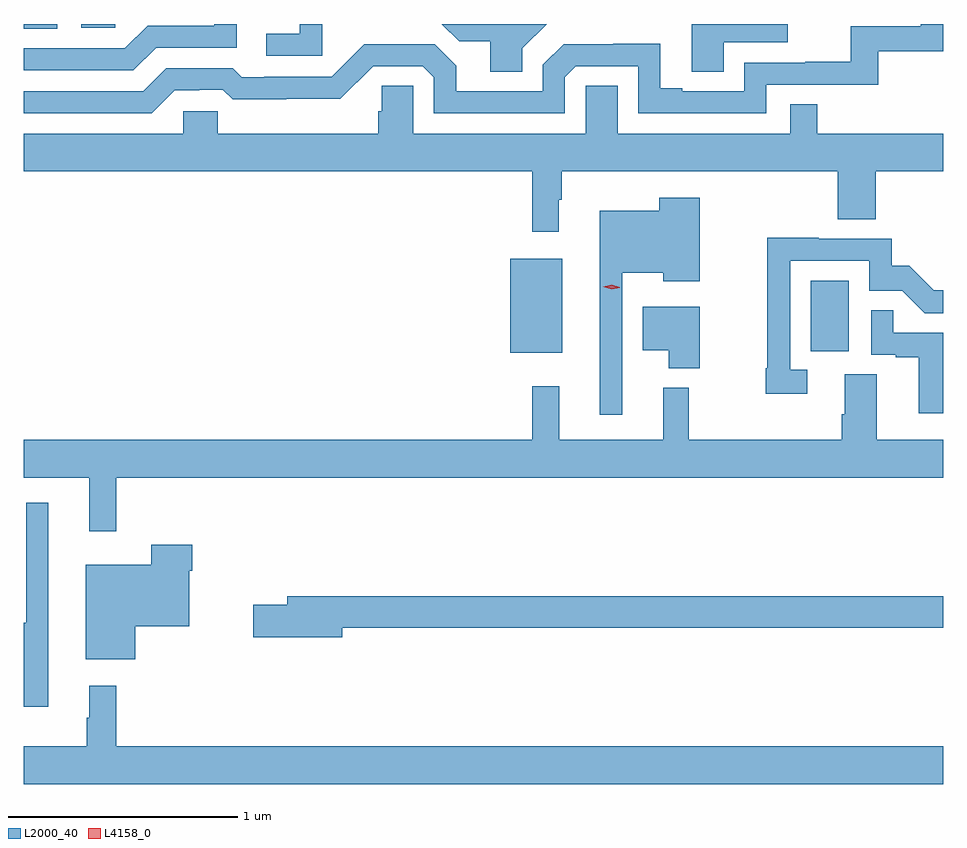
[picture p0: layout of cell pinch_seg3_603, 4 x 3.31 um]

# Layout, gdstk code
import gdstk
lib = gdstk.Library(unit=1e-6, precision=1e-09)
def R(c, l, rs):  # rectangles x0, y0, x1, y1
    for r in rs: c.add(gdstk.rectangle(r[:2], r[2:], *l))
def P(c, l, *ps):  # polygons
    for p in ps: c.add(gdstk.Polygon(p, *l))
L2000_40 = (2000, 40)
L4158_0 = (4158, 0)

pinch_seg3_603 = lib.new_cell('pinch_seg3_603')
R(pinch_seg3_603, L2000_40, [(1032.254,692.135,1032.481,692.545), (1033.562,692.142,1033.726,692.449), (1030.138,693.544,1030.284,693.565), (1030.389,693.549,1030.536,693.565)])
P(pinch_seg3_603, L2000_40, [(1033.183,693.486),(1033.46,693.486),(1033.46,693.565),(1033.043,693.565),(1033.043,693.358),(1033.183,693.358)],
  [(1031.436,693.565),(1031.34,693.565),(1031.34,693.522),(1031.193,693.522),(1031.193,693.426),(1031.436,693.426)],
  [(1030.795,693.276),(1030.902,693.276),(1030.902,693.279),(1031.005,693.279),(1031.047,693.237),(1031.28,693.237),(1031.28,693.239),(1031.516,693.239),(1031.658,693.381),(1031.874,693.381),(1031.922,693.333),(1031.922,693.177),(1032.492,693.177),(1032.492,693.333),(1032.54,693.381),(1032.81,693.381),(1032.81,693.177),(1033.368,693.177),(1033.368,693.3),(1033.855,693.3),(1033.855,693.447),(1034.138,693.447),(1034.138,693.565),(1034.039,693.565),(1034.039,693.556),(1033.734,693.556),(1033.734,693.401),(1033.537,693.401),(1033.537,693.396),(1033.272,693.396),(1033.272,693.273),(1033.003,693.273),(1033.003,693.286),(1032.907,693.286),(1032.907,693.479),(1032.702,693.479),(1032.702,693.477),(1032.486,693.477),(1032.396,693.387),(1032.396,693.273),(1032.019,693.273),(1032.019,693.383),(1031.925,693.477),(1031.619,693.477),(1031.478,693.336),(1031.185,693.336),(1031.185,693.333),(1031.086,693.333),(1031.047,693.372),(1030.758,693.372),(1030.659,693.273),(1030.138,693.273),(1030.138,693.177),(1030.696,693.177)],
  [(1030.714,693.462),(1031.064,693.462),(1031.064,693.565),(1030.968,693.565),(1030.968,693.558),(1030.677,693.558),(1030.578,693.459),(1030.138,693.459),(1030.138,693.363),(1030.615,693.363)],
  [(1032.307,693.46),(1032.412,693.565),(1031.957,693.565),(1032.032,693.49),(1032.167,693.49),(1032.167,693.358),(1032.307,693.358)],
  [(1032.466,692.801),(1032.478,692.801),(1032.478,692.924),(1033.679,692.924),(1033.679,692.716),(1033.844,692.716),(1033.844,692.924),(1034.138,692.924),(1034.138,693.088),(1033.589,693.088),(1033.589,693.215),(1033.473,693.215),(1033.473,693.088),(1032.721,693.088),(1032.721,693.296),(1032.582,693.296),(1032.582,693.088),(1031.832,693.088),(1031.832,693.296),(1031.695,693.296),(1031.695,693.186),(1031.68,693.186),(1031.68,693.088),(1030.983,693.088),(1030.983,693.186),(1030.833,693.186),(1030.833,693.088),(1030.138,693.088),(1030.138,692.924),(1032.349,692.924),(1032.349,692.661),(1032.466,692.661)],
  [(1032.741,692.483),(1032.92,692.483),(1032.92,692.447),(1033.078,692.447),(1033.078,692.809),(1032.903,692.809),(1032.903,692.752),(1032.644,692.752),(1032.644,691.866),(1032.741,691.866)],
  [(1033.546,692.061),(1033.473,692.061),(1033.473,692.535),(1033.815,692.535),(1033.815,692.406),(1033.959,692.406),(1034.057,692.308),(1034.138,692.308),(1034.138,692.407),(1034.097,692.407),(1033.99,692.514),(1033.914,692.514),(1033.914,692.631),(1033.595,692.631),(1033.595,692.636),(1033.372,692.636),(1033.372,692.068),(1033.365,692.068),(1033.365,691.956),(1033.546,691.956)],
  [(1033.078,692.335),(1032.83,692.335),(1032.83,692.147),(1032.944,692.147),(1032.944,692.069),(1033.078,692.069)],
  [(1034.138,692.223),(1033.919,692.223),(1033.919,692.321),(1033.824,692.321),(1033.824,692.127),(1033.93,692.127),(1033.93,692.115),(1034.03,692.115),(1034.03,691.872),(1034.138,691.872)],
  [(1030.541,691.592),(1034.138,691.592),(1034.138,691.756),(1033.849,691.756),(1033.849,692.042),(1033.709,692.042),(1033.709,691.868),(1033.697,691.868),(1033.697,691.756),(1033.03,691.756),(1033.03,691.984),(1032.92,691.984),(1032.92,691.756),(1032.467,691.756),(1032.467,691.99),(1032.349,691.99),(1032.349,691.756),(1030.138,691.756),(1030.138,691.592),(1030.424,691.592),(1030.424,691.359),(1030.541,691.359)],
  [(1030.246,691.483),(1030.149,691.483),(1030.149,690.961),(1030.138,690.961),(1030.138,690.596),(1030.246,690.596)],
  [(1030.624,690.947),(1030.858,690.947),(1030.858,691.187),(1030.871,691.187),(1030.871,691.3),(1030.693,691.3),(1030.693,691.213),(1030.409,691.213),(1030.409,690.803),(1030.624,690.803)],
  [(1031.524,690.94),(1034.138,690.94),(1034.138,691.076),(1031.285,691.076),(1031.285,691.04),(1031.136,691.04),(1031.136,690.898),(1031.524,690.898)],
  [(1034.138,690.424),(1030.541,690.424),(1030.541,690.688),(1030.424,690.688),(1030.424,690.548),(1030.413,690.548),(1030.413,690.424),(1030.138,690.424),(1030.138,690.26),(1034.138,690.26)])
P(pinch_seg3_603, L4158_0, [(1032.695,692.411),(1032.659,692.422),(1032.659,692.422),(1032.659,692.422),(1032.695,692.431),(1032.731,692.42),(1032.731,692.419),(1032.731,692.419)])

lib.write_gds('pinch_seg3_603.gds')
